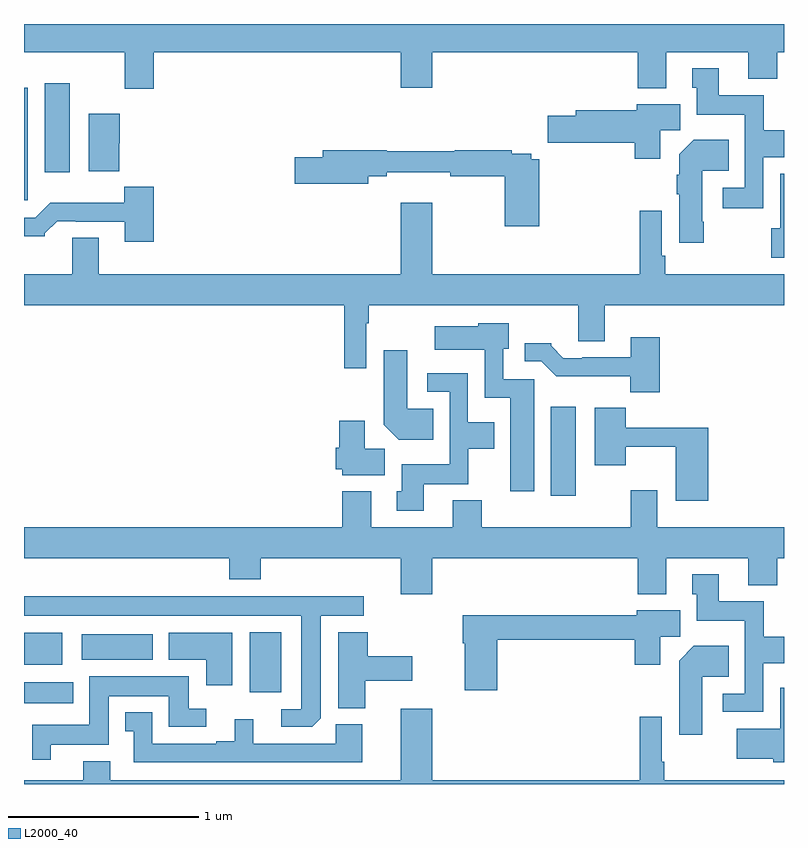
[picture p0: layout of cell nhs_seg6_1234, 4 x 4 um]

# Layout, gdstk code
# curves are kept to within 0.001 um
import gdstk
lib = gdstk.Library(unit=1e-6, precision=1e-09)
def R(c, l, rs):  # rectangles x0, y0, x1, y1
    for r in rs: c.add(gdstk.rectangle(r[:2], r[2:], *l))
def P(c, l, *ps):  # polygons
    for p in ps: c.add(gdstk.Polygon(p, *l))
L2000_40 = (2000, 40)

nhs_seg6_1234 = lib.new_cell('nhs_seg6_1234')
R(nhs_seg6_1234, L2000_40, [(187,927.926,187.258,928.036), (188.189,927.984,188.353,928.3), (187,928.127,187.201,928.297), (187.305,928.154,187.678,928.288), (189.773,929.016,189.904,929.485), (187,930.573,187.021,931.165), (187.109,930.72,187.24,931.189)])
P(nhs_seg6_1234, L2000_40, [(187.682,931.352),(188.984,931.352),(188.984,931.164),(189.148,931.164),(189.148,931.352),(190.229,931.352),(190.229,931.163),(190.381,931.163),(190.381,931.352),(190.811,931.352),(190.811,931.211),(190.964,931.211),(190.964,931.352),(191,931.352),(191,931.5),(187,931.5),(187,931.352),(187.529,931.352),(187.529,931.158),(187.682,931.158)],
  [(190.89,930.8),(191,930.8),(191,930.94),(190.893,930.94),(190.893,931.126),(190.657,931.126),(190.657,931.267),(190.517,931.267),(190.517,931.164),(190.541,931.164),(190.541,931.022),(190.794,931.022),(190.794,930.639),(190.677,930.639),(190.677,930.531),(190.89,930.531)],
  [(190.348,930.94),(190.453,930.94),(190.453,931.078),(190.226,931.078),(190.226,931.047),(189.905,931.047),(189.905,931.017),(189.756,931.017),(189.756,930.875),(190.214,930.875),(190.214,930.792),(190.348,930.792)],
  [(187.502,930.873),(187.504,930.873),(187.504,931.027),(187.34,931.027),(187.34,930.725),(187.502,930.725)],
  [(190.578,930.46),(190.57,930.46),(190.57,930.728),(190.709,930.728),(190.709,930.892),(190.526,930.892),(190.448,930.814),(190.448,930.707),(190.436,930.707),(190.436,930.604),(190.448,930.604),(190.448,930.348),(190.578,930.348)],
  [(189.713,930.787),(189.67,930.787),(189.67,930.816),(189.566,930.816),(189.566,930.836),(189.266,930.836),(189.266,930.829),(188.908,930.829),(188.908,930.836),(188.573,930.836),(188.573,930.8),(188.424,930.8),(188.424,930.658),(188.812,930.658),(188.812,930.7),(188.908,930.7),(188.908,930.719),(189.244,930.719),(189.244,930.7),(189.53,930.7),(189.53,930.435),(189.713,930.435)],
  [(191,930.712),(190.979,930.712),(190.979,930.426),(190.933,930.426),(190.933,930.27),(191,930.27)],
  [(187.682,930.643),(187.527,930.643),(187.527,930.559),(187.138,930.559),(187.059,930.48),(187,930.48),(187,930.383),(187.11,930.383),(187.11,930.398),(187.174,930.462),(187.273,930.462),(187.273,930.459),(187.529,930.459),(187.529,930.354),(187.682,930.354)],
  [(188.802,929.924),(188.815,929.924),(188.815,930.02),(189.917,930.02),(189.917,929.83),(190.057,929.83),(190.057,930.02),(191,930.02),(191,930.184),(190.376,930.184),(190.376,930.28),(190.356,930.28),(190.356,930.517),(190.24,930.517),(190.24,930.184),(189.148,930.184),(189.148,930.559),(188.984,930.559),(188.984,930.184),(187.393,930.184),(187.393,930.374),(187.253,930.374),(187.253,930.184),(187,930.184),(187,930.02),(188.686,930.02),(188.686,929.688),(188.802,929.688)],
  [(189.685,929.631),(189.522,929.631),(189.522,929.79),(189.55,929.79),(189.55,929.926),(189.39,929.926),(189.39,929.908),(189.162,929.908),(189.162,929.786),(189.426,929.786),(189.426,929.534),(189.56,929.534),(189.56,929.04),(189.685,929.04)],
  [(190.346,929.851),(190.193,929.851),(190.193,929.745),(189.937,929.745),(189.937,929.742),(189.838,929.742),(189.774,929.806),(189.774,929.821),(189.635,929.821),(189.635,929.724),(189.723,929.724),(189.802,929.646),(190.191,929.646),(190.191,929.561),(190.346,929.561)],
  [(189.155,929.476),(189.016,929.476),(189.016,929.782),(188.894,929.782),(188.894,929.39),(188.972,929.312),(189.155,929.312)],
  [(189.103,929.078),(189.339,929.078),(189.339,929.264),(189.475,929.264),(189.475,929.404),(189.336,929.404),(189.336,929.661),(189.123,929.661),(189.123,929.565),(189.24,929.565),(189.24,929.182),(188.987,929.182),(188.987,929.04),(188.963,929.04),(188.963,928.938),(189.103,928.938)],
  [(190.601,929.375),(190.166,929.375),(190.166,929.479),(190.004,929.479),(190.004,929.178),(190.168,929.178),(190.168,929.275),(190.43,929.275),(190.43,928.992),(190.601,928.992)],
  [(188.899,929.264),(188.794,929.264),(188.794,929.413),(188.66,929.413),(188.66,929.271),(188.642,929.271),(188.642,929.157),(188.676,929.157),(188.676,929.126),(188.899,929.126)],
  [(190.381,928.688),(190.811,928.688),(190.811,928.547),(190.964,928.547),(190.964,928.688),(191,928.688),(191,928.852),(190.333,928.852),(190.333,929.047),(190.193,929.047),(190.193,928.852),(189.41,928.852),(189.41,928.993),(189.257,928.993),(189.257,928.852),(188.827,928.852),(188.827,929.041),(188.675,929.041),(188.675,928.852),(187,928.852),(187,928.688),(188.081,928.688),(188.081,928.577),(188.246,928.577),(188.246,928.688),(188.984,928.688),(188.984,928.5),(189.148,928.5),(189.148,928.688),(190.229,928.688),(190.229,928.499),(190.381,928.499)],
  [(190.89,928.136),(191,928.136),(191,928.276),(190.893,928.276),(190.893,928.462),(190.657,928.462),(190.657,928.603),(190.517,928.603),(190.517,928.5),(190.541,928.5),(190.541,928.358),(190.794,928.358),(190.794,927.975),(190.677,927.975),(190.677,927.879),(190.89,927.879)],
  [(188.562,927.847),(188.563,928.385),(188.788,928.385),(188.788,928.489),(187,928.489),(187,928.385),(188.459,928.385),(188.459,927.894),(188.355,927.894),(188.355,927.801),(188.516,927.801)],
  [(189.491,928.258),(190.214,928.258),(190.214,928.128),(190.348,928.128),(190.348,928.276),(190.453,928.276),(190.453,928.414),(190.226,928.414),(190.226,928.387),(189.308,928.387),(189.308,928.241),(189.32,928.241),(189.32,927.993),(189.491,927.993)],
  [(188.797,928.043),(189.043,928.043),(189.043,928.173),(188.81,928.173),(188.81,928.3),(188.654,928.3),(188.654,927.899),(188.797,927.899)],
  [(188.095,928.297),(187.763,928.297),(187.763,928.154),(187.958,928.154),(187.958,928.02),(188.095,928.02)],
  [(190.57,928.064),(190.709,928.064),(190.709,928.228),(190.526,928.228),(190.448,928.15),(190.448,927.759),(190.57,927.759)],
  [(187.141,927.707),(187.447,927.707),(187.447,927.962),(187.763,927.962),(187.763,927.801),(187.96,927.801),(187.96,927.897),(187.867,927.897),(187.867,928.066),(187.343,928.066),(187.343,927.811),(187.043,927.811),(187.043,927.627),(187.141,927.627)],
  [(191,928.006),(190.98,928.006),(190.98,927.79),(190.752,927.79),(190.752,927.632),(190.944,927.632),(190.944,927.614),(191,927.614)],
  [(191,927.52),(190.369,927.52),(190.369,927.616),(190.356,927.616),(190.356,927.853),(190.24,927.853),(190.24,927.52),(189.148,927.52),(189.148,927.895),(188.984,927.895),(188.984,927.52),(187.453,927.52),(187.453,927.619),(187.313,927.619),(187.313,927.52),(187,927.52),(187,927.5),(191,927.5)],
  [(188.779,927.814),(188.64,927.814),(188.64,927.711),(188.206,927.711),(188.206,927.841),(188.108,927.841),(188.108,927.724),(188.012,927.724),(188.012,927.711),(187.674,927.711),(187.674,927.877),(187.532,927.877),(187.532,927.777),(187.578,927.777),(187.578,927.615),(188.779,927.615)])

lib.write_gds('nhs_seg6_1234.gds')
